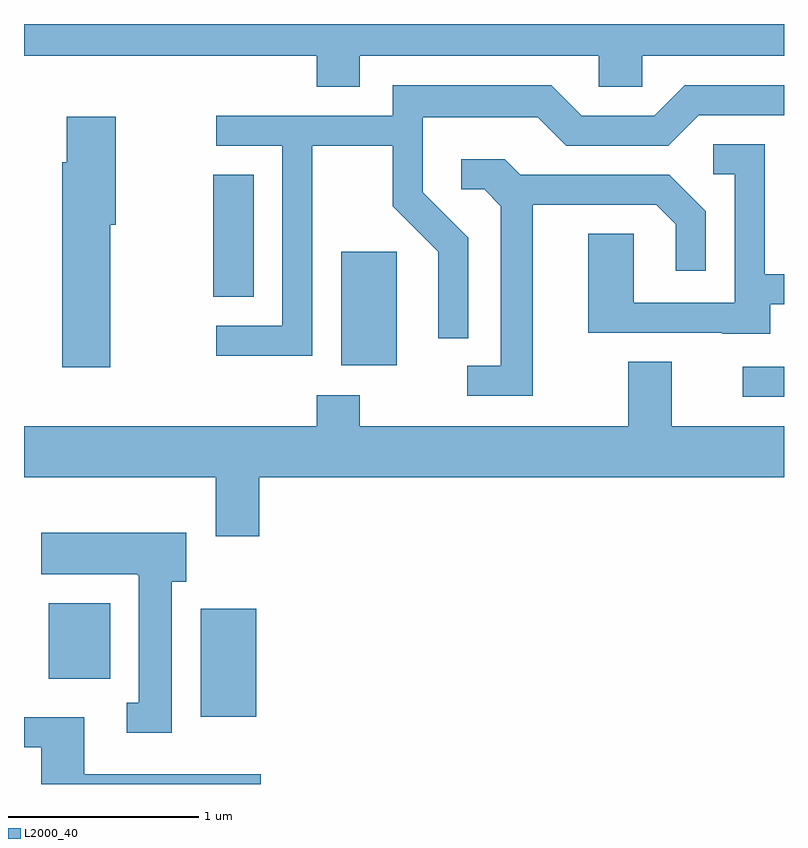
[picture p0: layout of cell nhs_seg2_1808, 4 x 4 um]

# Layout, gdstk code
import gdstk
lib = gdstk.Library(unit=1e-6, precision=1e-09)
def R(c, l, rs):  # rectangles x0, y0, x1, y1
    for r in rs: c.add(gdstk.rectangle(r[:2], r[2:], *l))
def P(c, l, *ps):  # polygons
    for p in ps: c.add(gdstk.Polygon(p, *l))
L2000_40 = (2000, 40)

nhs_seg2_1808 = lib.new_cell('nhs_seg2_1808')
R(nhs_seg2_1808, L2000_40, [(238.541,1058.156,238.834,1058.724), (237.741,1058.356,238.064,1058.754), (241.393,1059.841,241.611,1059.999), (239.281,1060.006,239.574,1060.604), (238.606,1060.366,238.819,1061.009)])
P(nhs_seg2_1808, L2000_40, [(239.379,1061.636),(240.636,1061.636),(240.636,1061.471),(240.864,1061.471),(240.864,1061.636),(241.611,1061.636),(241.611,1061.802),(237.611,1061.802),(237.611,1061.636),(239.151,1061.636),(239.151,1061.471),(239.379,1061.471)],
  [(239.129,1061.161),(239.551,1061.161),(239.551,1060.844),(239.791,1060.604),(239.791,1060.148),(239.949,1060.148),(239.949,1060.677),(239.709,1060.917),(239.709,1061.311),(240.314,1061.311),(240.464,1061.161),(241.002,1061.161),(241.162,1061.321),(241.611,1061.321),(241.611,1061.479),(241.089,1061.479),(240.929,1061.319),(240.547,1061.319),(240.387,1061.479),(239.551,1061.479),(239.551,1061.319),(238.623,1061.319),(238.623,1061.161),(238.971,1061.161),(238.971,1060.214),(238.623,1060.214),(238.623,1060.056),(239.129,1060.056)],
  [(238.064,1060.746),(238.094,1060.746),(238.094,1061.314),(237.836,1061.314),(237.836,1061.074),(237.811,1061.074),(237.811,1059.996),(238.064,1059.996)],
  [(241.539,1060.326),(241.611,1060.326),(241.611,1060.484),(241.509,1060.484),(241.509,1061.169),(241.238,1061.169),(241.238,1061.011),(241.351,1061.011),(241.351,1060.334),(240.819,1060.334),(240.819,1060.699),(240.581,1060.699),(240.581,1060.176),(241.285,1060.176),(241.285,1060.171),(241.539,1060.171)],
  [(240.289,1060.851),(240.939,1060.851),(241.041,1060.749),(241.041,1060.503),(241.199,1060.503),(241.199,1060.817),(241.007,1061.009),(240.222,1061.009),(240.142,1061.089),(239.913,1061.089),(239.913,1060.931),(240.034,1060.931),(240.121,1060.844),(240.121,1060.004),(239.943,1060.004),(239.943,1059.846),(240.289,1059.846)],
  [(238.849,1059.416),(241.611,1059.416),(241.611,1059.684),(241.019,1059.684),(241.019,1060.024),(240.791,1060.024),(240.791,1059.684),(239.379,1059.684),(239.379,1059.849),(239.151,1059.849),(239.151,1059.684),(237.611,1059.684),(237.611,1059.416),(238.621,1059.416),(238.621,1059.106),(238.849,1059.106)],
  [(238.389,1058.866),(238.464,1058.866),(238.464,1059.124),(237.701,1059.124),(237.701,1058.906),(238.21,1058.906),(238.21,1058.9),(238.216,1058.9),(238.216,1058.229),(238.153,1058.229),(238.153,1058.071),(238.389,1058.071)],
  [(238.858,1057.854),(237.929,1057.854),(237.929,1058.154),(237.611,1058.154),(237.611,1057.996),(237.701,1057.996),(237.701,1057.802),(238.858,1057.802)])

lib.write_gds('nhs_seg2_1808.gds')
